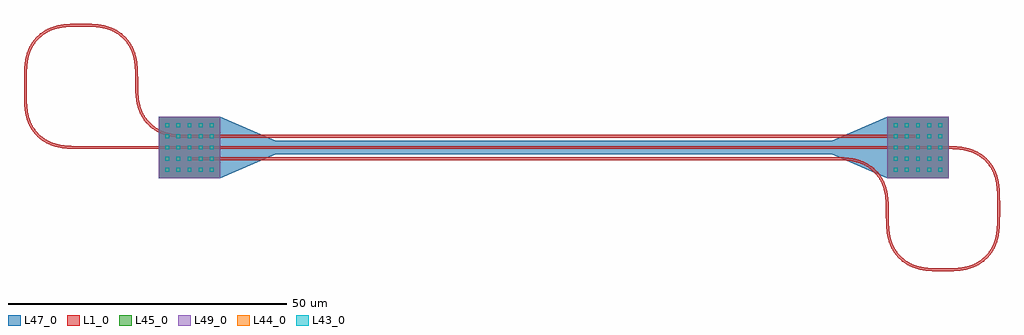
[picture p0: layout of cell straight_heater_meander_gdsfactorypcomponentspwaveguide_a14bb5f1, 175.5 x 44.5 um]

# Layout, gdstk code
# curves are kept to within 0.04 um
import gdstk
lib = gdstk.Library(unit=1e-6, precision=1e-09)
def R(c, l, rs):  # rectangles x0, y0, x1, y1
    for r in rs: c.add(gdstk.rectangle(r[:2], r[2:], *l))
def A(c, l, x, y, w, h, nx, ny, dx, dy):  # array of equal rectangles
    R(c, l, [(x+i*dx, y+j*dy, x+i*dx+w, y+j*dy+h) for i in range(nx) for j in range(ny)])
def P(c, l, *ps):  # polygons
    for p in ps: c.add(gdstk.Polygon(p, *l))
L1_0 = (1, 0)
L43_0 = (43, 0)
L44_0 = (44, 0)
L45_0 = (45, 0)
L47_0 = (47, 0)
L49_0 = (49, 0)

straight_heater_meander_ = lib.new_cell('straight_heater_meander_gdsfactorypcomponentspwaveguide_a14bb5f1')
P(straight_heater_meander_, L1_0, [(119.584,-20.25),(116.925,-20.128),(115.806,-19.939),(114.845,-19.666),(113.922,-19.273),(113.061,-18.756),(112.279,-18.127),(111.59,-17.397),(111.008,-16.579),(110.602,-15.819),(110.288,-15.019),(110.031,-14.055),(109.872,-13.075),(109.781,-11.953),(109.739,-8.62),(109.647,-7.119),(109.388,-5.654),(108.887,-4.269),(108.422,-3.457),(107.938,-2.818),(107.283,-2.15),(106.653,-1.654),(105.851,-1.173),(105.116,-0.851),(104.346,-0.612),(103.42,-0.424),(102.065,-0.288),(100.415,-0.25),(-15,-0.25),(-15,0.25),(100.416,0.25),(101.953,0.219),(103.356,0.091),(104.332,-0.093),(105.289,-0.382),(106.078,-0.727),(106.82,-1.163),(107.507,-1.682),(108.224,-2.385),(108.756,-3.061),(109.273,-3.922),(109.797,-5.254),(110.128,-6.925),(110.235,-8.468),(110.288,-12.065),(110.52,-13.952),(110.763,-14.863),(111.113,-15.731),(111.578,-16.543),(112.15,-17.283),(112.818,-17.938),(113.569,-18.495),(114.512,-18.999),(115.394,-19.317),(116.313,-19.531),(117.526,-19.685),(120.83,-19.748),(122.746,-19.661),(124.346,-19.388),(125.61,-18.944),(126.762,-18.269),(127.85,-17.283),(128.635,-16.203),(129.237,-14.863),(129.576,-13.42),(129.739,-11.38),(129.731,-6.345),(129.554,-4.447),(129.149,-2.884),(128.827,-2.149),(128.346,-1.347),(127.85,-0.717),(127.182,-0.062),(126.543,0.422),(125.731,0.887),(124.99,1.194),(124.084,1.451),(122.474,1.685),(120.415,1.75),(-35.416,1.75),(-37.795,1.842),(-39.055,2.031),(-40.019,2.288),(-40.949,2.663),(-41.82,3.163),(-42.615,3.776),(-43.318,4.493),(-43.992,5.421),(-44.457,6.312),(-44.756,7.117),(-44.997,8.085),(-45.144,9.065),(-45.225,10.188),(-45.225,15.812),(-45.128,17.075),(-44.907,18.332),(-44.618,19.289),(-44.273,20.078),(-43.756,20.939),(-43.127,21.721),(-42.397,22.41),(-41.579,22.992),(-40.819,23.398),(-39.883,23.756),(-38.636,24.048),(-37.373,24.194),(-35.695,24.249),(-33.047,24.219),(-31.925,24.128),(-30.806,23.939),(-29.845,23.666),(-28.922,23.273),(-27.715,22.5),(-26.776,21.615),(-25.934,20.455),(-25.334,19.155),(-25.031,18.055),(-24.829,16.654),(-24.731,12.345),(-24.576,10.58),(-24.237,9.137),(-23.635,7.797),(-23.189,7.131),(-22.575,6.425),(-21.869,5.811),(-21.087,5.299),(-20.365,4.949),(-19.477,4.647),(-18.553,4.446),(-17.474,4.315),(-15.415,4.25),(115,4.25),(115,3.75),(-15.416,3.75),(-16.953,3.781),(-18.216,3.89),(-19.194,4.061),(-20.155,4.334),(-21.078,4.727),(-21.82,5.163),(-22.507,5.682),(-23.224,6.385),(-23.756,7.061),(-24.273,7.922),(-24.797,9.254),(-25.128,10.925),(-25.235,12.468),(-25.288,16.065),(-25.52,17.952),(-25.763,18.863),(-26.056,19.61),(-26.434,20.317),(-26.893,20.975),(-27.425,21.575),(-28.131,22.189),(-28.797,22.635),(-29.635,23.051),(-30.394,23.317),(-31.313,23.531),(-32.254,23.661),(-33.62,23.739),(-37.474,23.685),(-38.687,23.531),(-39.735,23.278),(-40.731,22.887),(-41.762,22.269),(-42.575,21.575),(-43.269,20.762),(-43.827,19.851),(-44.194,18.99),(-44.48,17.952),(-44.661,16.746),(-44.748,14.83),(-44.742,10.757),(-44.685,9.526),(-44.531,8.313),(-44.194,7.01),(-43.635,5.797),(-42.85,4.717),(-41.869,3.811),(-40.731,3.113),(-39.606,2.683),(-38.285,2.404),(-36.655,2.269),(120.416,2.25),(122.233,2.203),(123.636,2.048),(124.609,1.836),(125.556,1.513),(126.455,1.066),(127.285,0.5),(128.029,-0.174),(128.588,-0.829),(129.137,-1.669),(129.567,-2.577),(129.836,-3.391),(130.023,-4.224),(130.225,-6.188),(130.239,-11.392),(130.171,-12.654),(130.023,-13.776),(129.836,-14.609),(129.567,-15.423),(129.273,-16.078),(128.837,-16.82),(128.41,-17.397),(127.826,-18.029),(127.285,-18.5),(126.579,-18.992),(125.289,-19.618),(123.776,-20.023),(121.953,-20.219)])
A(straight_heater_meander_, L43_0, -19.85, -2.35, 0.7, 0.7, 5, 5, 2, 2)
A(straight_heater_meander_, L43_0, 111.15, -2.35, 0.7, 0.7, 5, 5, 2, 2)
A(straight_heater_meander_, L44_0, -19.85, -2.35, 0.7, 0.7, 5, 5, 2, 2)
A(straight_heater_meander_, L44_0, 111.15, -2.35, 0.7, 0.7, 5, 5, 2, 2)
R(straight_heater_meander_, L45_0, [(-21,-3.5,-10,7.5), (110,-3.5,121,7.5)])
P(straight_heater_meander_, L47_0, [(-21,-3.5),(-21,7.5),(-10,7.5),(0,3.25),(100,3.25),(110,7.5),(121,7.5),(121,-3.5),(110,-3.5),(100,0.75),(0,0.75),(-10,-3.5)])
R(straight_heater_meander_, L49_0, [(-21,-3.5,-10,7.5), (110,-3.5,121,7.5)])

lib.write_gds('straight_heater_meander_gdsfactorypcomponentspwaveguide_a14bb5f1.gds')
